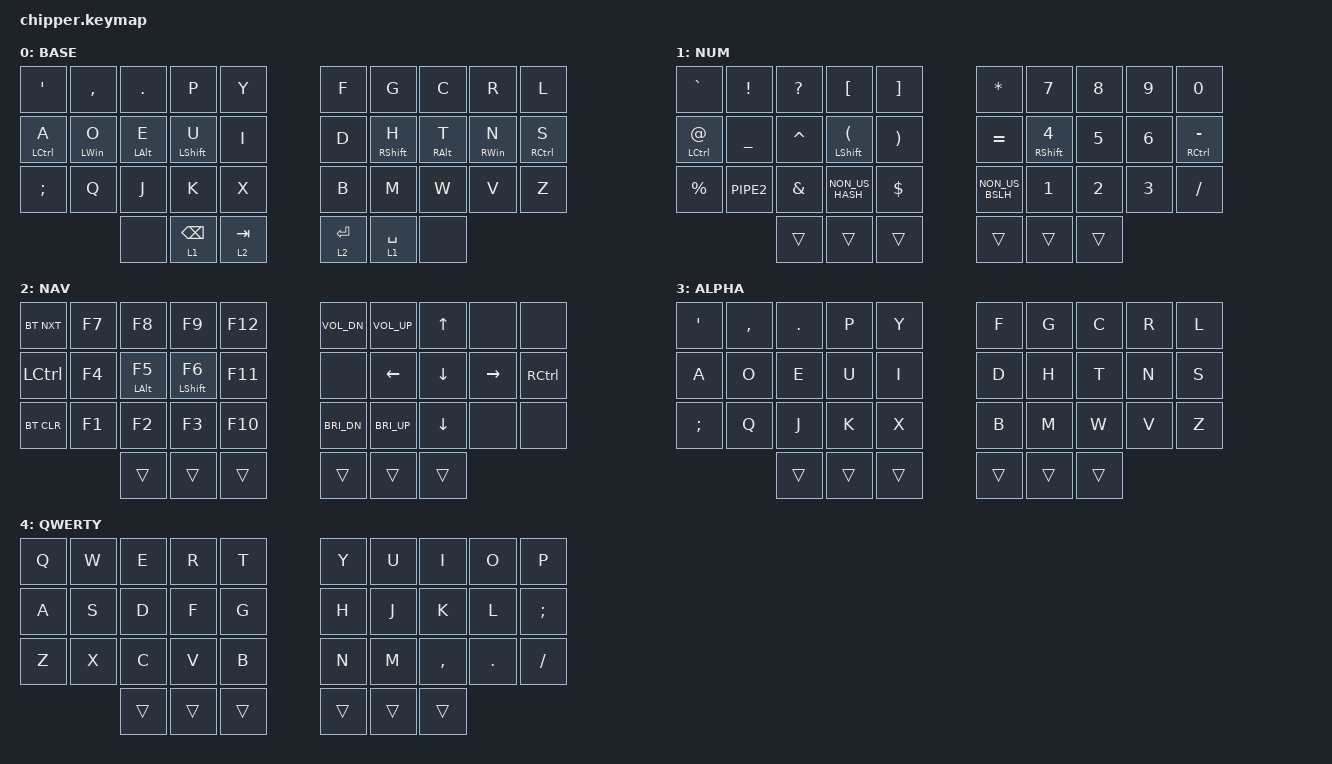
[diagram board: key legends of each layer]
#include "zmk-helpers/helper.h"

#define HM_TAPPING_TERM 280
#define HM_TAPPING_TERM_FAST 175
#define HM_PRIOR_IDLE 150
#define COMBO_TERM_FAST 35
#define COMBO_TERM_SLOW 40
#define COMBO_PRIOR_IDLE 100
#define BASE 0
#define NUMS 1
#define DANGER 2

/* use helper macros to define left and right hand keys */

#include "zmk-helpers/key-labels/36.h"                                      // key-position labels
#include <behaviors.dtsi>
#include <dt-bindings/zmk/bt.h>
#include <dt-bindings/zmk/keys.h>

#define KEYS_L LT0 LT1 LT2 LT3 LT4 LM0 LM1 LM2 LM3 LM4 LB0 LB1 LB2 LB3 LB4  // left-hand keys
#define KEYS_R RT0 RT1 RT2 RT3 RT4 RM0 RM1 RM2 RM3 RM4 RB0 RB1 RB2 RB3 RB4  // right-hand keys
#define KEYS_T                 LH2 LH1 LH0 RH0 RH1 RH2                                      // thumb keys

/ {
    behaviors {
        // Positional Homerow mods
        // Homerow mods that prevent accidental activations when rolling keys,
        // such as when typing `st` or `ne` on colemak-dh layouts or `as` on
        // qwerty.
        //
        // Works by only allowing a mod to activate within tapping-term if
        // it's on the opposite side of the keyboard or on the same side thumb
        // keys.
        // Further optimization using urob's timerless homerow mods method:
        // https://github.com/urob/zmk-config#timeless-homerow-mods

        hm_l: homerow_mods_left {
            compatible = "zmk,behavior-hold-tap";
            #binding-cells = <2>;
            bindings = <&kp>, <&kp>;

            flavor = "balanced";
            tapping-term-ms = <HM_TAPPING_TERM>;
            quick-tap-ms = <175>;                // repeat on tap-into-hold
            require-prior-idle-ms = <HM_PRIOR_IDLE>;
            hold-trigger-key-positions = <KEYS_R KEYS_T>;
            hold-trigger-on-release;
        };

        hm_r: homerow_mods_right {
            compatible = "zmk,behavior-hold-tap";
            #binding-cells = <2>;
            bindings = <&kp>, <&kp>;

            flavor = "balanced";
            tapping-term-ms = <HM_TAPPING_TERM>;
            quick-tap-ms = <175>;
            require-prior-idle-ms = <HM_PRIOR_IDLE>;
            hold-trigger-key-positions = <KEYS_L KEYS_T>;
            hold-trigger-on-release;
        };

        // Positional Homerow mods for shift
        // Use faster tapping term and disable some features that may
        // cause false negatives.

        hm_shift_l: hm_shift_l {
            compatible = "zmk,behavior-hold-tap";
            #binding-cells = <2>;
            bindings = <&kp>, <&kp>;

            flavor = "balanced";
            tapping-term-ms = <HM_TAPPING_TERM_FAST>;
            quick-tap-ms = <175>;
            require-prior-idle-ms = <HM_PRIOR_IDLE>;
            hold-trigger-key-positions = <KEYS_R KEYS_T>;

            // hold-trigger-on-release;
        };

        hm_shift_r: hm_shift_r {
            compatible = "zmk,behavior-hold-tap";
            #binding-cells = <2>;
            bindings = <&kp>, <&kp>;

            flavor = "balanced";
            tapping-term-ms = <HM_TAPPING_TERM_FAST>;
            quick-tap-ms = <175>;
            require-prior-idle-ms = <HM_PRIOR_IDLE>;
            hold-trigger-key-positions = <KEYS_L KEYS_T>;

            // hold-trigger-on-release;
        };

        /*
         * Non-Positional Homerow Mods
         * Used for &mm_grescm_gui behavior on left hand.
         *
         * Usage: &hm LSHFT T
         * Tap: T
         * Tap-Tap-Hold: Repeat T
         * Hold: LSHIFT
         */

        hm: homerow_mods {
            compatible = "zmk,behavior-hold-tap";
            #binding-cells = <2>;
            bindings = <&kp>, <&kp>;

            flavor = "balanced";
            tapping-term-ms = <HM_TAPPING_TERM>;
            quick-tap-ms = <200>;
        };
    };

    combos {
        compatible = "zmk,combos";

        escapeleft {
            timeout-ms = <COMBO_TERM_FAST>;
            require-prior-idle-ms = <COMBO_PRIOR_IDLE>;
            bindings = <&kp ESCAPE>;
            key-positions = <0 1>;
            layers = <0>;
        };

        Alpha_only_layer {
            bindings = <&tog 3>;
            key-positions = <32 33>;
        };

        Delete {
            bindings = <&kp DELETE>;
            key-positions = <8 9>;
            layers = <0>;
        };

        QWERTY_layer {
            bindings = <&tog 4>;
            key-positions = <31 34>;
        };
    };

    keymap {
        compatible = "zmk,keymap";

        alpha_layer {
            display-name = "BASE";
            bindings = <
  &kp APOS       &kp COMMA     &kp PERIOD    &kp P                 &kp Y        &kp F      &kp G                 &kp C         &kp R         &kp L
  &hm_l LCTRL A  &hm_l LWIN O  &hm_l LALT E  &hm_shift_l LSHIFT U  &kp I        &kp D      &hm_shift_r RSHIFT H  &hm_r RALT T  &hm_r RWIN N  &hm_r RCTRL S
  &kp SEMI       &kp Q         &kp J         &kp K                 &kp X        &kp B      &kp M                 &kp W         &kp V         &kp Z
                               &none         &lt 1 BACKSPACE       &lt 2 TAB    &lt 2 RET  &lt 1 SPACE           &none
            >;
        };

        sym_num_layer {
            display-name = "NUM";
            bindings = <
  &kp GRAVE            &kp EXCLAMATION  &kp QUESTION   &kp LEFT_BRACKET                     &kp RIGHT_BRACKET        &kp ASTERISK     &kp N7                 &kp N8  &kp N9  &kp N0
  &hm_l LCTRL AT_SIGN  &kp UNDERSCORE   &kp CARET      &hm_shift_l LSHIFT LEFT_PARENTHESIS  &kp RIGHT_PARENTHESIS    &kp EQUAL        &hm_shift_r RSHIFT N4  &kp N5  &kp N6  &hm_r RCTRL MINUS
  &kp PERCENT          &kp PIPE2        &kp AMPERSAND  &kp NON_US_HASH                      &kp DOLLAR               &kp NON_US_BSLH  &kp N1                 &kp N2  &kp N3  &kp FSLH
                                        &trans         &trans                               &trans                   &trans           &trans                 &trans
            >;
        };

        fun_nav_layer {
            display-name = "NAV";
            bindings = <
  &bt BT_NXT  &kp F7  &kp F8         &kp F9                 &kp F12    &kp C_VOL_DN  &kp C_VOL_UP    &kp UP_ARROW    &none            &none
  &kp LCTRL   &kp F4  &hm_l LALT F5  &hm_shift_l LSHIFT F6  &kp F11    &none         &kp LEFT_ARROW  &kp DOWN_ARROW  &kp RIGHT_ARROW  &kp RCTRL
  &bt BT_CLR  &kp F1  &kp F2         &kp F3                 &kp F10    &kp C_BRI_DN  &kp C_BRI_UP    &kp DOWN        &none            &none
                      &trans         &trans                 &trans     &trans        &trans          &trans
            >;
        };

        alpha_only_layer {
            display-name = "ALPHA";
            bindings = <
  &kp APOS  &kp COMMA  &kp PERIOD  &kp P   &kp Y     &kp F   &kp G   &kp C   &kp R  &kp L
  &kp A     &kp O      &kp E       &kp U   &kp I     &kp D   &kp H   &kp T   &kp N  &kp S
  &kp SEMI  &kp Q      &kp J       &kp K   &kp X     &kp B   &kp M   &kp W   &kp V  &kp Z
                       &trans      &trans  &trans    &trans  &trans  &trans
            >;
        };

        qwerty_layer {
            display-name = "QWERTY";
            bindings = <
  &kp Q  &kp W  &kp E   &kp R   &kp T     &kp Y   &kp U   &kp I      &kp O       &kp P
  &kp A  &kp S  &kp D   &kp F   &kp G     &kp H   &kp J   &kp K      &kp L       &kp SEMI
  &kp Z  &kp X  &kp C   &kp V   &kp B     &kp N   &kp M   &kp COMMA  &kp PERIOD  &kp SLASH
                &trans  &trans  &trans    &trans  &trans  &trans
            >;
        };
    };
};
